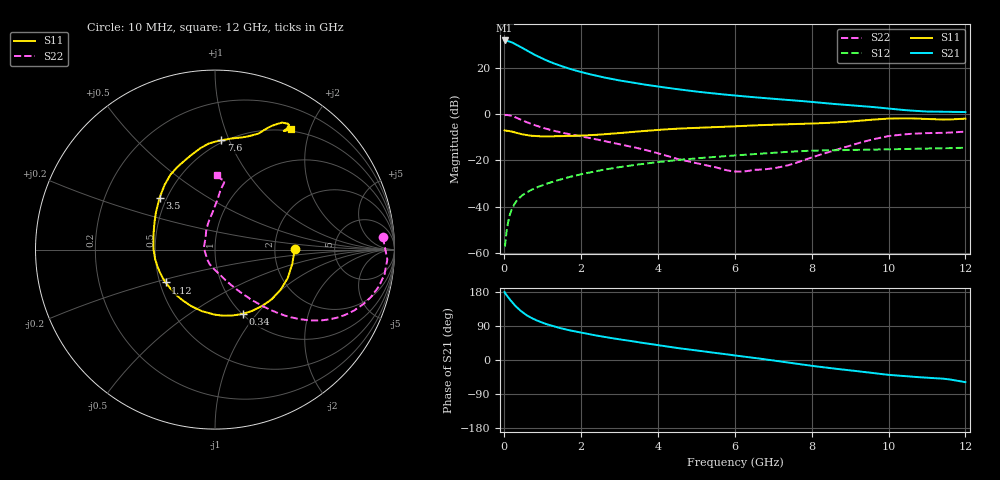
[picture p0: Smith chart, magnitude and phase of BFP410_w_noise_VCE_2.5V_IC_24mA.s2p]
! Infineon Technologies  Discrete & RF Semiconductors
! BFP410
! VCE =  2.5 V,  IC =  24 mA
! Common Emitter S-Parameters:  Nov 2015
# GHz  S  MA  R  50
!  f  S11  S21  S12  S22
! GHz  MAG  ANG  MAG  ANG  MAG  ANG  MAG  ANG
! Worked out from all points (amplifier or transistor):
!   243 points, 10 MHz to 12 GHz, reference 50 ohm
!   highest |S21| = 31.8 dB at 10 MHz (marker M1)
!   |S21| within 3 dB of that: start of sweep to 446.6 MHz
!   unconditionally stable (mu >= 1): 1.702 GHz to end of sweep
!   at 240 MHz: K = 0.30, MSG = 35.2 dB, |S12| = -39.7 dB
!   at 1.84 GHz: K = 1.03, MAG = 21.8 dB, |S12| = -26.6 dB
!   at 12 GHz: K = 1.02, MAG = 6.9 dB, |S12| = -14.5 dB
!   lowest NFmin = 1.85 dB at 450 MHz
!   S11 on the Smith chart (normalised r, x): 10 MHz: 2.60, +0.02; 340 MHz: 1.01, -0.85; 1.12 GHz: 0.54, -0.22; 3.5 GHz: 0.46, +0.32; 7.6 GHz: 0.48, +0.93; 12 GHz: 0.47, +1.72
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0.01  0.4445 0.3  39.04 179.3  0.0014 107.9  0.9379 4.2
0.02  0.4399 -3.3  38.87 176.7  0.0014 98.6  0.9489 0.1
0.05  0.4382 -10.1  38.4 172.5  0.0024 84.5  0.9617 -3.3
0.1  0.4353 -21.3  37.89 166.0  0.0046 83.1  0.9546 -8.3
0.15  0.4285 -31.5  36.8 159.3  0.0069 79.6  0.9357 -12.7
0.24  0.4099 -48.9  34.17 148.3  0.0104 74.4  0.8847 -19.7
0.34  0.3898 -66.4  31.04 137.8  0.0139 70.2  0.8186 -26.0
0.5  0.3626 -90.2  26.05 124.1  0.0183 65.8  0.7168 -33.3
0.6  0.3506 -102.3  23.31 117.1  0.0206 64.0  0.6622 -36.6
0.7  0.3411 -113.4  20.98 111.4  0.0229 62.9  0.6148 -39.2
0.9  0.3326 -131.1  17.26 102.0  0.0271 61.6  0.5388 -43.2
1.12  0.3301 -146.3  14.26 93.9  0.0316 60.9  0.4753 -46.4
1.5  0.3347 -165.8  10.81 83.1  0.0395 59.7  0.3978 -50.6
2.02  0.3442 174.7  8.037 71.8  0.0506 57.1  0.3279 -55.1
2.6  0.3675 157.1  6.192 61.0  0.063 53.0  0.2619 -60.5
3.5  0.4232 136.8  4.543 46.6  0.0817 46.0  0.1818 -70.9
4.1  0.4622 126.4  3.838 37.7  0.0938 40.7  0.135 -81.2
6.1  0.5498 102.6  2.478 10.9  0.1295 23.2  0.0572 -162.6
7.6  0.6097 86.8  1.961 -9.4  0.1567 8.6  0.0887 125.8
8.2  0.6342 78.8  1.772 -17.7  0.1634 1.6  0.1309 109.8
10.2  0.8053 61.0  1.271 -40.8  0.1745 -14.8  0.3497 83.7
12  0.797 57.7  1.107 -58.5  0.1877 -30.4  0.4181 88.8
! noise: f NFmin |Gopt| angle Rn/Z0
0.45  1.85  0.17  -160  0.18
0.9  1.85  0.2  -157  0.16
1.8  2  0.24  -139  0.19
2.4  2  0.28  -125  0.24
5.5  2.89  0.46  -101  0.5
10  4.02  0.72  -45  2.79
